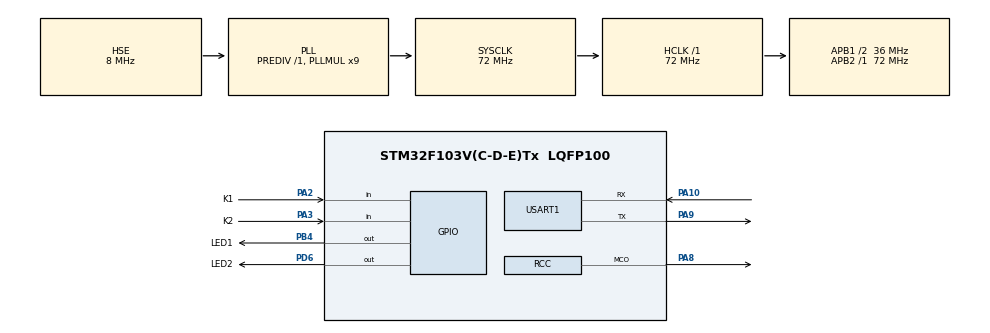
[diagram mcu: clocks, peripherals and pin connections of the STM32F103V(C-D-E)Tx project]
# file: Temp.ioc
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Mcu.Family=STM32F1
Mcu.Name=STM32F103V(C-D-E)Tx
Mcu.Package=LQFP100
NVIC.PriorityGroup=NVIC_PRIORITYGROUP_4
NVIC.USART1_IRQn=true\:0\:0\:false\:false\:true\:true\:true\:true
OSC_IN.Mode=HSE-External-Oscillator
OSC_IN.Signal=RCC_OSC_IN
OSC_OUT.Mode=HSE-External-Oscillator
OSC_OUT.Signal=RCC_OSC_OUT
PA10.Mode=Asynchronous
PA10.Signal=USART1_RX
PA13.Mode=Serial_Wire
PA13.Signal=SYS_JTMS-SWDIO
PA14.Mode=Serial_Wire
PA14.Signal=SYS_JTCK-SWCLK
PA2.GPIO_Label=K1
PA2.Signal=GPIO_Input
PA3.GPIO_Label=K2
PA3.Signal=GPIO_Input
PA8.Mode=Clock-out
PA8.Signal=RCC_MCO
PA9.Mode=Asynchronous
PA9.Signal=USART1_TX
PB4.GPIO_Label=LED1
PB4.GPIO_ModeDefaultOutputPP=GPIO_MODE_OUTPUT_PP
PB4.GPIO_PuPd=GPIO_PULLUP
PB4.GPIO_Speed=GPIO_SPEED_FREQ_HIGH
PB4.PinState=GPIO_PIN_SET
PB4.Signal=GPIO_Output
PC14-OSC32_IN.Mode=LSE-External-Oscillator
PC14-OSC32_IN.Signal=RCC_OSC32_IN
PC15-OSC32_OUT.Mode=LSE-External-Oscillator
PC15-OSC32_OUT.Signal=RCC_OSC32_OUT
PD6.GPIO_Label=LED2
PD6.GPIO_ModeDefaultOutputPP=GPIO_MODE_OUTPUT_PP
PD6.GPIO_PuPd=GPIO_PULLUP
PD6.GPIO_Speed=GPIO_SPEED_FREQ_HIGH
PD6.PinState=GPIO_PIN_SET
PD6.Signal=GPIO_Output
ProjectManager.HeapSize=0x200
ProjectManager.StackSize=0x400
ProjectManager.TargetToolchain=Makefile
RCC.AHBFreq_Value=72000000
RCC.APB1CLKDivider=RCC_HCLK_DIV2
RCC.APB1Freq_Value=36000000
RCC.APB1TimFreq_Value=72000000
RCC.APB2Freq_Value=72000000
RCC.APB2TimFreq_Value=72000000
RCC.HCLKFreq_Value=72000000
RCC.PLLMUL=RCC_PLL_MUL9
RCC.PLLSourceVirtual=RCC_PLLSOURCE_HSE
RCC.RCC_MCOSource=RCC_MCO1SOURCE_PLLCLK
RCC.SYSCLKFreq_VALUE=72000000
RCC.SYSCLKSource=RCC_SYSCLKSOURCE_PLLCLK
RCC.USBFreq_Value=72000000
USART1.VirtualMode=VM_ASYNC
board=custom

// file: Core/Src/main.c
/* USER CODE BEGIN Header */
/**
  ******************************************************************************
  * @file           : main.c
  * @brief          : Main program body
  ******************************************************************************
  * @attention
  *
  * Copyright (c) 2025 STMicroelectronics.
  * All rights reserved.
  *
  * This software is licensed under terms that can be found in the LICENSE file
  * in the root directory of this software component.
  * If no LICENSE file comes with this software, it is provided AS-IS.
  *
  ******************************************************************************
  */
/* USER CODE END Header */
#include "main.h"

/* USER CODE BEGIN Includes */
#include "stdio.h"//printf函数库
/* USER CODE END Includes */

/* USER CODE BEGIN PTD */
uint8_t rx_buff[100];  //接收缓存
uint8_t rx_done = 0; //接收完成标志
uint8_t rx_cnt = 0;//接收数据长度
/* USER CODE END PTD */

UART_HandleTypeDef huart1;

void SystemClock_Config(void);
static void MX_GPIO_Init(void);
static void MX_USART1_UART_Init(void);

int main(void)
{

  /* MCU Configuration--------------------------------------------------------*/

  /* Reset of all peripherals, Initializes the Flash interface and the Systick. */
  HAL_Init();

  /* Configure the system clock */
  SystemClock_Config();

  /* Initialize all configured peripherals */
  MX_GPIO_Init();
  MX_USART1_UART_Init();
  /* USER CODE BEGIN 2 */
  //串口发送数据测试
  unsigned char Sendbuf[] = "RYMCU nebula-pi usart1 test!\r\n";
  HAL_UART_Transmit(&huart1,Sendbuf, sizeof(Sendbuf), HAL_MAX_DELAY); // 串口发送数据
  HAL_Delay(1000);
  //printf打印数据测试
  printf("hello,enjoy!\r\n");
  HAL_Delay(1000);
  /* USER CODE END 2 */

  /* Infinite loop */
  while (1)
  {

    /* USER CODE BEGIN 3 */
    if(rx_done == 1)//判读是否接收完成
    {
        rx_done = 0;//清除接收标志
        //数据处理，打印接收长度、接收的数据
        printf("length of rx data: %d!\r\n",rx_cnt);
        for(int i = 0;i<rx_cnt;i++) printf("%c",rx_buff[i]);
        printf("\r\n");

        rx_cnt =0;//清除接收长度
    }
    HAL_GPIO_TogglePin(LED1_GPIO_Port, LED1_Pin); // 切换亮、灭状态，添加此语句防止优化
  }
  /* USER CODE END 3 */
}

void SystemClock_Config(void)
{
  RCC_OscInitTypeDef RCC_OscInitStruct = {0};
  RCC_ClkInitTypeDef RCC_ClkInitStruct = {0};

  /** Initializes the RCC Oscillators according to the specified parameters
  * in the RCC_OscInitTypeDef structure.
  */
  RCC_OscInitStruct.OscillatorType = RCC_OSCILLATORTYPE_HSE;
  RCC_OscInitStruct.HSEState = RCC_HSE_ON;
  RCC_OscInitStruct.HSEPredivValue = RCC_HSE_PREDIV_DIV1;
  RCC_OscInitStruct.HSIState = RCC_HSI_ON;
  RCC_OscInitStruct.PLL.PLLState = RCC_PLL_ON;
  RCC_OscInitStruct.PLL.PLLSource = RCC_PLLSOURCE_HSE;
  RCC_OscInitStruct.PLL.PLLMUL = RCC_PLL_MUL9;
  if (HAL_RCC_OscConfig(&RCC_OscInitStruct) != HAL_OK)
  {
    Error_Handler();
  }

  /** Initializes the CPU, AHB and APB buses clocks
  */
  RCC_ClkInitStruct.ClockType = RCC_CLOCKTYPE_HCLK|RCC_CLOCKTYPE_SYSCLK
                              |RCC_CLOCKTYPE_PCLK1|RCC_CLOCKTYPE_PCLK2;
  RCC_ClkInitStruct.SYSCLKSource = RCC_SYSCLKSOURCE_PLLCLK;
  RCC_ClkInitStruct.AHBCLKDivider = RCC_SYSCLK_DIV1;
  RCC_ClkInitStruct.APB1CLKDivider = RCC_HCLK_DIV2;
  RCC_ClkInitStruct.APB2CLKDivider = RCC_HCLK_DIV1;

  if (HAL_RCC_ClockConfig(&RCC_ClkInitStruct, FLASH_LATENCY_2) != HAL_OK)
  {
    Error_Handler();
  }
  HAL_RCC_MCOConfig(RCC_MCO, RCC_MCO1SOURCE_PLLCLK, RCC_MCODIV_1);
}

static void MX_USART1_UART_Init(void)
{

  huart1.Instance = USART1;
  huart1.Init.BaudRate = 115200;
  huart1.Init.WordLength = UART_WORDLENGTH_8B;
  huart1.Init.StopBits = UART_STOPBITS_1;
  huart1.Init.Parity = UART_PARITY_NONE;
  huart1.Init.Mode = UART_MODE_TX_RX;
  huart1.Init.HwFlowCtl = UART_HWCONTROL_NONE;
  huart1.Init.OverSampling = UART_OVERSAMPLING_16;
  if (HAL_UART_Init(&huart1) != HAL_OK)
  {
    Error_Handler();
  }
  /* USER CODE BEGIN USART1_Init 2 */
  //开启接收中断，空闲中断
  __HAL_UART_ENABLE_IT(&huart1,UART_IT_IDLE|UART_IT_RXNE);
  /* USER CODE END USART1_Init 2 */

}

static void MX_GPIO_Init(void)
{
  GPIO_InitTypeDef GPIO_InitStruct = {0};

  /* GPIO Ports Clock Enable */
  __HAL_RCC_GPIOC_CLK_ENABLE();
  __HAL_RCC_GPIOA_CLK_ENABLE();
  __HAL_RCC_GPIOD_CLK_ENABLE();
  __HAL_RCC_GPIOB_CLK_ENABLE();

  /*Configure GPIO pin Output Level */
  HAL_GPIO_WritePin(LED2_GPIO_Port, LED2_Pin, GPIO_PIN_SET);

  /*Configure GPIO pin Output Level */
  HAL_GPIO_WritePin(LED1_GPIO_Port, LED1_Pin, GPIO_PIN_SET);

  /*Configure GPIO pins : K1_Pin K2_Pin */
  GPIO_InitStruct.Pin = K1_Pin|K2_Pin;
  GPIO_InitStruct.Mode = GPIO_MODE_INPUT;
  GPIO_InitStruct.Pull = GPIO_NOPULL;
  HAL_GPIO_Init(GPIOA, &GPIO_InitStruct);

  /*Configure GPIO pin : PA8 */
  GPIO_InitStruct.Pin = GPIO_PIN_8;
  GPIO_InitStruct.Mode = GPIO_MODE_AF_PP;
  GPIO_InitStruct.Speed = GPIO_SPEED_FREQ_LOW;
  HAL_GPIO_Init(GPIOA, &GPIO_InitStruct);

  /*Configure GPIO pin : LED2_Pin */
  GPIO_InitStruct.Pin = LED2_Pin;
  GPIO_InitStruct.Mode = GPIO_MODE_OUTPUT_PP;
  GPIO_InitStruct.Pull = GPIO_PULLUP;
  GPIO_InitStruct.Speed = GPIO_SPEED_FREQ_HIGH;
  HAL_GPIO_Init(LED2_GPIO_Port, &GPIO_InitStruct);

  /*Configure GPIO pin : LED1_Pin */
  GPIO_InitStruct.Pin = LED1_Pin;
  GPIO_InitStruct.Mode = GPIO_MODE_OUTPUT_PP;
  GPIO_InitStruct.Pull = GPIO_PULLUP;
  GPIO_InitStruct.Speed = GPIO_SPEED_FREQ_HIGH;
  HAL_GPIO_Init(LED1_GPIO_Port, &GPIO_InitStruct);

}

/* USER CODE BEGIN 4 */
#ifdef __GNUC__
#define PUTCHAR_PROTOTYPE int __io_putchar(int ch)
#else
#define PUTCHAR_PROTOTYPE int fputc(int ch,FILE *f)
#endif /* __GNUC__ */
//重定向printf函数
PUTCHAR_PROTOTYPE
{
    HAL_UART_Transmit(&huart1,(uint8_t *)&ch,1,HAL_MAX_DELAY);//输出指向串口USART1
    return ch;
}
/* USER CODE END 4 */

void Error_Handler(void)
{
  __disable_irq();
  while (1)
  {
  }
}
